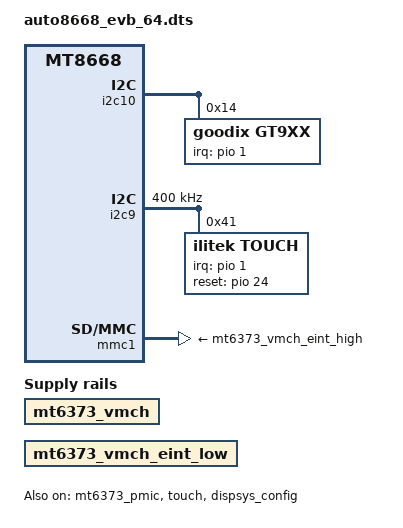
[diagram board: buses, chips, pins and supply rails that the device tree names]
// SPDX-License-Identifier: (GPL-2.0 OR MIT)
/*
 * Copyright (c) 2024 MediaTek Inc.
 */

/dts-v1/;
/plugin/;
#include <dt-bindings/interrupt-controller/arm-gic.h>
#include <dt-bindings/interrupt-controller/irq.h>
#include <dt-bindings/pinctrl/mt6881-pinfunc.h>
#include <dt-bindings/phy/phy.h>

/* chosen */
&chosen {
	bootargs_ext = "";
};

&extcon_usb{
	status = "disabled";
};

&ssusb {
	vusb33-supply = <&mt6373_vusb>;
	role-switch-default-mode = "peripheral";
};


&mt6363keys {
	pinctrl-names = "kpcol0_mode";
	pinctrl-0 = <&kpcol0_pins_gpio_mode>;
	home2 {
		linux,keycodes = <114>;
		wakeup-source;
	};
};

&pio {
	kpcol0_pins_gpio_mode: gpio-mode {
		pins-cmd-dat {
			pinmux = <PINMUX_GPIO16__FUNC_GPIO16>;
			input-enable;
		};
	};
};

&connfem {
/* Enable epa_elna node to support Wifi & BT ePA/eLNA FEM on customer load */
#if 0
	epa-elna {
		parts = <&wlan7207h &wlan7207c>;
		wifi {
			flags-0 {
				open-loop;
			};
		};
		bt {
			flags-0 {
				/* choose one of: epa-elna/epa/elna/bypass */
				epa-elna;
			};
		};
	};
#endif
};

&lk_charger {
	disable-charger;
};

&charger {
	disable-charger;
};

&mtk_gauge {
	disable-mtkbattery = <1>;
};

/* CONNSYS TCXO GPIO start */
&consys {
	tcxo-support = "true";
};

&spmi {
	interrupts-extended = <&pio 215 IRQ_TYPE_LEVEL_HIGH>,
			<&gic GIC_SPI 624 IRQ_TYPE_LEVEL_HIGH 0>,
			<&gic GIC_SPI 642 IRQ_TYPE_LEVEL_HIGH 0>;
	interrupt-names = "rcs_irq",
			"pmif_irq","spmi_nack_irq";
	spmi-dev-mask = <0x0>;
};

&mt6373_pmic {
	status = "okay";
};

&mt6373_vbuck2 {
	regulator-read-only;
};

&mt6373_vbuck4 {
	regulator-always-on;
};

&mt6373_vbuck5 {
	regulator-read-only;
};

&mt6373_vbuck6 {
	regulator-always-on;
};

&mt6373_vbuck7 {
	regulator-always-on;
};

&mt6373_vbuck9 {
	regulator-always-on;
};

&mt6373_vaud18 {
	regulator-always-on;
};

/* MD/RF always-on setting */
&mt6363_vbuck5 {
	regulator-always-on;
};

&mt6363_vbuck6 {
	regulator-always-on;
};

&mt6363_vcn15 {
	regulator-always-on;
};

&mt6363_vrf12 {
	regulator-always-on;
};

&mt6363_vsram_digrf {
	regulator-always-on;
};

&mt6363_vsram_modem {
	regulator-always-on;
};

&i2c10{
	gt9xx@14{
		compatible = "goodix,gt9xx";
		reg = <0x14>;
		status = "okay";
		touch-id = <2>;
		touch-identity = "gt9xx_DSI-1";

		interrupt-parent = <&pio>;
		interrupts = <1 0x2800>;
		irq-gpios = <&pio 1 0x2800>;
		irq-flags = <2>;

		touchscreen-max-id = <11>;
		touchscreen-size-x = <1920>;
		touchscreen-size-y = <1080>;
		touchscreen-max-w = <512>;
		touchscreen-max-p = <512>;
		touchscreen-key-map = <172>, <158>; /*KEY_HOMEPAGE=172, KEY_BACK=158,KEY_MENU=139*/

		goodix,slide-wakeup = <0>;
		goodix,type-a-report = <0>;
		goodix,driver-send-cfg = <1>;
		goodix,resume-in-workqueue = <0>;
		goodix,int-sync = <1>;
		goodix,swap-x2y = <0>;
		goodix,esd-protect = <1>;
		goodix,auto-update-cfg = <1>;
		goodix,power-off-sleep = <0>;
		goodix,cfg-group0 = [
			48 80 07 38 04 0A 0D 00 01 08 28 05 50 32 03 05 00 00
			00 00 00 00 00 00 00 00 00 95 35 FF 17 15 31 0D 00 00
			00 9A 03 2D 00 00 00 00 00 00 00 00 00 00 00 0F 23 94
			C5 02 07 00 00 04 A0 10 00 8B 13 00 7C 16 00 6B 1B 00
			60 20 00 60 00 00 00 00 00 00 00 00 00 00 00 00 00 00
			00 00 00 00 00 00 00 00 00 00 00 00 00 00 00 00 00 00
			00 00 00 00 00 01 02 03 04 05 06 07 08 09 0A 0B 0C 0D
			0E 0F 10 11 12 13 14 15 16 17 18 19 1A 1B 1C 1D 00 01
			02 03 04 05 06 07 08 09 0A 0B 0C 0D 0E 0F 10 11 12 13
			14 15 16 17 18 19 1B 1C 1D 1E 1F 20 21 22 23 24 25 26
			27 28 29 2A 23 01
		];
	};
};

&i2c9 {
	clock-frequency = <400000>;
	status = "okay";
	ilitek@41 {
		compatible = "ilitek,touch";
		reg = <0x41>;
		interrupt-parent = <&pio>;
		interrupts = <1 0x0>;
		ilitek,irq-gpio = <&pio 1 0x0>;
		ilitek,reset-gpio = <&pio 24 0x0>;
		ilitek,vbus = "vcc_i2c";
		ilitek,name = "ilitek_i2c";
	};
};

/* TOUCH start */
&touch {
	tpd-resolution = <800 1280>;
	use-tpd-button = <0>;
	tpd-key-num = <3>;
	tpd-key-local= <139 172 158 0>;
	tpd-key-dim-local = <90 883 100 40
		230 883 100 40 370 883 100 40 0 0 0 0>;
	tpd-max-touch-num = <5>;
	tpd-filter-enable = <1>;
	tpd-filter-pixel-density = <146>;
	tpd-filter-custom-prameters = <0 0 0 0 0 0 0 0 0 0 0 0>;
	tpd-filter-custom-speed = <0 0 0>;
	pinctrl-names = "default", "state_eint_as_int",
		"state_eint_output0", "state_eint_output1",
		"state_rst_output0", "state_rst_output1";
	pinctrl-0 = <&ctp_pins_default_int>;
	pinctrl-1 = <&ctp_pins_eint_as_int>;
	pinctrl-2 = <&ctp_pins_eint_output0>;
	pinctrl-3 = <&ctp_pins_eint_output1>;
	pinctrl-4 = <&ctp_pins_rst_output0>;
	pinctrl-5 = <&ctp_pins_rst_output1>;
	status = "okay";
	vtouch-supply = <&mt6373_vtp>;
	ilitek,vdd = "vtouch";
};

&pio{
	ctp_pins_default_int: eint0default {
		};

	ctp_pins_eint_as_int: eint@0 {
		pins-cmd-dat {
			pinmux = <PINMUX_GPIO1__FUNC_GPIO1>;
			slew-rate = <0>;
			bias-disable;
		};
	};

	ctp_pins_eint_output0: eintoutput0 {
		pins-cmd-dat {
			pinmux = <PINMUX_GPIO1__FUNC_GPIO1>;
			slew-rate = <1>;
			output-low;
		};
	};

	ctp_pins_eint_output1: eintoutput1 {
		pins-cmd-dat {
			pinmux = <PINMUX_GPIO1__FUNC_GPIO1>;
			slew-rate = <1>;
			output-high;
		};
	};

	ctp_pins_rst_output0: rstoutput0 {
		pins-cmd-dat {
			pinmux = <PINMUX_GPIO24__FUNC_GPIO24>;
			slew-rate = <1>;
			output-low;
		};
	};

	ctp_pins_rst_output1: rstoutput1 {
		pins-cmd-dat {
			pinmux = <PINMUX_GPIO24__FUNC_GPIO24>;
			slew-rate = <1>;
			output-high;
		};
	};
};
/* TOUCH end */
&spmi_pmif_mpu {
	disable = <1>;
};

&thermal_zones {
	pmic6373-bk0 {
		polling-delay = <0>; /* milliseconds */
		polling-delay-passive = <0>; /* milliseconds */
		thermal-sensors = <&mt6373_temp 0>;
		trips {
			pmic6373_bk0_crit: pmic6373-bk0-crit {
				temperature = <125000>;
				hysteresis = <2000>;
				type = "passive";
			};
		};
	};
	pmic6373-ldo {
		polling-delay = <0>; /* milliseconds */
		polling-delay-passive = <0>; /* milliseconds */
		thermal-sensors = <&mt6373_temp 1>;
		trips {
			pmic6373_ldo_crit: pmic6373-ldo-crit {
				temperature = <125000>;
				hysteresis = <2000>;
				type = "passive";
			};
		};
	};
	pmic6373-bk3-bk7 {
		polling-delay = <0>; /* milliseconds */
		polling-delay-passive = <0>; /* milliseconds */
		thermal-sensors = <&mt6373_temp 2>;
		trips {
			pmic6373_bk3_bk7_crit: pmic6373-bk3-bk7-crit {
				temperature = <125000>;
				hysteresis = <2000>;
				type = "passive";
			};
		};
	};
	pmic6373-bk4-bk8 {
		polling-delay = <0>; /* milliseconds */
		polling-delay-passive = <0>; /* milliseconds */
		thermal-sensors = <&mt6373_temp 3>;
		trips {
			pmic6373_bk4_bk8_crit: pmic6373-bk4-bk8-crit {
				temperature = <125000>;
				hysteresis = <2000>;
				type = "passive";
			};
		};
	};
};

&mt6368_temp {
	status = "disabled";
};

&pmic6368_buck1 {
	status = "disabled";
};

&pmic6368_vpa {
	status = "disabled";
};

&pmic6368_vcn33_1 {
	status = "disabled";
};

&pmic6368_vrf18_aif {
	status = "disabled";
};

&mt6373_vmch {
	regulator-min-microvolt = <0>;
};

&mt6373_vmch_eint_low {
	regulator-min-microvolt = <0>;
};

&pmic_oc_debug {
	status = "disabled";
};

&mt6363_dynamic_loading_throttling {
	status = "disabled";
};

&mt6319_6 {
	compatible = "no use";
	status = "disabled";
};

&mt6720 {
	compatible = "no use";
	status = "disabled";
};

&spmi {
	second_pmic@5 {
		compatible = "no use";
		status = "disabled";
	};
};

&afe {
	etdm-in-ch = <2 2 2 16 2>;
	etdm-out-ch = <2 2 2 16>;
	etdm-in-format = <0 0 0 4 0>;
	etdm-out-format = <0 0 0 4>;
	etdmin6-clk-always-on = <0xf 0xbb80 0x80 0x20 0x10>;/* ao_level, lrck, mclk_ratio, bck_width, channels */
};

&dispsys_config {
	helper-name = "MTK_DRM_OPT_STAGE",
		"MTK_DRM_OPT_USE_CMDQ",
		"MTK_DRM_OPT_USE_M4U",
		"MTK_DRM_OPT_MMQOS_SUPPORT",
		"MTK_DRM_OPT_MMDVFS_SUPPORT",
		"MTK_DRM_OPT_SODI_SUPPORT",
		"MTK_DRM_OPT_IDLE_MGR",
		"MTK_DRM_OPT_IDLEMGR_SWTCH_DECOUPLE",
		"MTK_DRM_OPT_IDLEMGR_BY_REPAINT",
		"MTK_DRM_OPT_IDLEMGR_ENTER_ULPS",
		"MTK_DRM_OPT_IDLEMGR_KEEP_LP11",
		"MTK_DRM_OPT_DYNAMIC_RDMA_GOLDEN_SETTING",
		"MTK_DRM_OPT_IDLEMGR_DISABLE_ROUTINE_IRQ",
		"MTK_DRM_OPT_IDLEMGR_ASYNC",
		"MTK_DRM_OPT_MET_LOG",
		"MTK_DRM_OPT_USE_PQ",
		"MTK_DRM_OPT_ESD_CHECK_RECOVERY",
		"MTK_DRM_OPT_ESD_CHECK_SWITCH",
		"MTK_DRM_OPT_PRESENT_FENCE",
		"MTK_DRM_OPT_RDMA_UNDERFLOW_AEE",
		"MTK_DRM_OPT_DSI_UNDERRUN_AEE",
		"MTK_DRM_OPT_ODDMR_OD_AEE",
		"MTK_DRM_OPT_ODDMR_DMR_AEE",
		"MTK_DRM_OPT_HRT",
		"MTK_DRM_OPT_HRT_MODE",
		"MTK_DRM_OPT_DELAYED_TRIGGER",
		"MTK_DRM_OPT_OVL_EXT_LAYER",
		"MTK_DRM_OPT_AOD",
		"MTK_DRM_OPT_RPO",
		"MTK_DRM_OPT_DUAL_PIPE",
		"MTK_DRM_OPT_DC_BY_HRT",
		"MTK_DRM_OPT_OVL_WCG",
		"MTK_DRM_OPT_OVL_SBCH",
		"MTK_DRM_OPT_COMMIT_NO_WAIT_VBLANK",
		"MTK_DRM_OPT_MET",
		"MTK_DRM_OPT_REG_PARSER_RAW_DUMP",
		"MTK_DRM_OPT_VP_PQ",
		"MTK_DRM_OPT_GAME_PQ",
		"MTK_DRM_OPT_MMPATH",
		"MTK_DRM_OPT_HBM",
		"MTK_DRM_OPT_VDS_PATH_SWITCH",
		"MTK_DRM_OPT_LAYER_REC",
		"MTK_DRM_OPT_CLEAR_LAYER",
		"MTK_DRM_OPT_LFR",
		"MTK_DRM_OPT_SF_PF",
		"MTK_DRM_OPT_DYN_MIPI_CHANGE",
		"MTK_DRM_OPT_PRIM_DUAL_PIPE",
		"MTK_DRM_OPT_MSYNC2_0",
		"MTK_DRM_OPT_MML_PRIMARY",
		"MTK_DRM_OPT_MML_SUPPORT_CMD_MODE",
		"MTK_DRM_OPT_MML_PQ",
		"MTK_DRM_OPT_MML_IR",
		"MTK_DRM_OPT_DUAL_TE",
		"MTK_DRM_OPT_RES_SWITCH",
		"MTK_DRM_OPT_PREFETCH_TE",
		"MTK_DRM_OPT_DPC_EN",
		"MTK_DRM_OPT_VIDLE_TOP_EN",
		"MTK_DRM_OPT_VIDLE_APSRC_OFF",
		"MTK_DRM_OPT_VIDLE_DSI_PLL_OFF",
		"MTK_DRM_OPT_VIDLE_VDO_PANEL",
		"MTK_DRM_OPT_VIDLE_HOME_SCREEN_IDLE",
		"MTK_DRM_OPT_VIDLE_FULL_SCENARIO",
		"MTK_DRM_OPT_DPC_PRE_TE_EN",
		"MTK_DRM_OPT_MMDVFS_MODE_SWITCH",
		"MTK_DRM_OPT_CHECK_TRIGGER_MERGE",
		"MTK_DRM_OPT_VIRTUAL_DISP",
		"MTK_DRM_OPT_OVL_BW_MONITOR",
		"MTK_DRM_OPT_GPU_CACHE",
		"MTK_DRM_OPT_SPHRT",
		"MTK_DRM_OPT_SDPA_OVL_SWITCH",
		"MTK_DRM_OPT_HRT_BY_LARB",
		"MTK_DRM_OPT_MAX_CHANNEL_HRT",
		"MTK_DRM_OPT_RES_SWITCH_ON_AP",
		"MTK_DRM_OPT_TILE_OVERHEAD";

	helper-value = <0>, /*MTK_DRM_OPT_STAGE*/
		<1>, /*MTK_DRM_OPT_USE_CMDQ*/
		<1>, /*MTK_DRM_OPT_USE_M4U*/
		<0>, /*MTK_DRM_OPT_MMQOS_SUPPORT*/
		<0>, /*MTK_DRM_OPT_MMDVFS_SUPPORT*/
		<0>, /*MTK_DRM_OPT_SODI_SUPPORT*/
		<1>, /*MTK_DRM_OPT_IDLE_MGR*/
		<0>, /*MTK_DRM_OPT_IDLEMGR_SWTCH_DECOUPLE*/
		<1>, /*MTK_DRM_OPT_IDLEMGR_BY_REPAINT*/
		<0>, /*MTK_DRM_OPT_IDLEMGR_ENTER_ULPS*/
		<0>, /*MTK_DRM_OPT_IDLEMGR_KEEP_LP11*/
		<0>, /*MTK_DRM_OPT_DYNAMIC_RDMA_GOLDEN_SETTING*/
		<1>, /*MTK_DRM_OPT_IDLEMGR_DISABLE_ROUTINE_IRQ*/
		<1>, /*MTK_DRM_OPT_IDLEMGR_ASYNC*/
		<0>, /*MTK_DRM_OPT_MET_LOG*/
		<0>, /*MTK_DRM_OPT_USE_PQ*/
		<1>, /*MTK_DRM_OPT_ESD_CHECK_RECOVERY*/
		<1>, /*MTK_DRM_OPT_ESD_CHECK_SWITCH*/
		<1>, /*MTK_DRM_OPT_PRESENT_FENCE*/
		<0>, /*MTK_DRM_OPT_RDMA_UNDERFLOW_AEE*/
		<0>, /*MTK_DRM_OPT_DSI_UNDERRUN_AEE*/
		<0>, /*MTK_DRM_OPT_ODDMR_OD_AEE*/
		<0>, /*MTK_DRM_OPT_ODDMR_DMR_AEE*/
		<1>, /*MTK_DRM_OPT_HRT*/
		<0>, /*MTK_DRM_OPT_HRT_MODE*/
		<0>, /*MTK_DRM_OPT_DELAYED_TRIGGER*/
		<1>, /*MTK_DRM_OPT_OVL_EXT_LAYER*/
		<0>, /*MTK_DRM_OPT_AOD*/
		<0>, /*MTK_DRM_OPT_RPO*/
		<0>, /*MTK_DRM_OPT_DUAL_PIPE*/
		<0>, /*MTK_DRM_OPT_DC_BY_HRT*/
		<0>, /*MTK_DRM_OPT_OVL_WCG*/
		<0>, /*MTK_DRM_OPT_OVL_SBCH*/
		<1>, /*MTK_DRM_OPT_COMMIT_NO_WAIT_VBLANK*/
		<0>, /*MTK_DRM_OPT_MET*/
		<0>, /*MTK_DRM_OPT_REG_PARSER_RAW_DUMP*/
		<0>, /*MTK_DRM_OPT_VP_PQ*/
		<0>, /*MTK_DRM_OPT_GAME_PQ*/
		<0>, /*MTK_DRM_OPT_MMPATH*/
		<0>, /*MTK_DRM_OPT_HBM*/
		<0>, /*MTK_DRM_OPT_VDS_PATH_SWITCH*/
		<0>, /*MTK_DRM_OPT_LAYER_REC*/
		<1>, /*MTK_DRM_OPT_CLEAR_LAYER*/
		<0>, /*MTK_DRM_OPT_LFR*/
		<0>, /*MTK_DRM_OPT_SF_PF*/
		<1>, /*MTK_DRM_OPT_DYN_MIPI_CHANGE*/
		<0>, /*MTK_DRM_OPT_PRIM_DUAL_PIPE*/
		<0>, /*MTK_DRM_OPT_MSYNC2_0*/
		<0>, /*MTK_DRM_OPT_MML_PRIMARY*/
		<0>, /*MTK_DRM_OPT_MML_SUPPORT_CMD_MODE*/
		<0>, /*MTK_DRM_OPT_MML_PQ*/
		<0>, /*MTK_DRM_OPT_MML_IR*/
		<0>, /*MTK_DRM_OPT_DUAL_TE*/
		<0>, /*MTK_DRM_OPT_RES_SWITCH*/
		<0>, /*MTK_DRM_OPT_PREFETCH_TE*/
		<1>, /*MTK_DRM_OPT_DPC_EN*/
		<0>, /*MTK_DRM_OPT_VIDLE_TOP_EN*/
		<0>, /*MTK_DRM_OPT_VIDLE_APSRC_OFF*/
		<0>, /*MTK_DRM_OPT_VIDLE_DSI_PLL_OFF*/
		<0>, /*MTK_DRM_OPT_VIDLE_VDO_PANEL*/
		<0>, /*MTK_DRM_OPT_VIDLE_HOME_SCREEN_IDLE*/
		<0>, /*MTK_DRM_OPT_VIDLE_FULL_SCENARIO*/
		<0>, /*MTK_DRM_OPT_DPC_PRE_TE_EN*/
		<0>, /*MTK_DRM_OPT_MMDVFS_MODE_SWITCH*/
		<0>, /*MTK_DRM_OPT_CHECK_TRIGGER_MERGE*/
		<0>, /*MTK_DRM_OPT_VIRTUAL_DISP*/
		<1>, /*MTK_DRM_OPT_OVL_BW_MONITOR*/
		<0>, /*MTK_DRM_OPT_GPU_CACHE*/
		<1>, /*MTK_DRM_OPT_SPHRT*/
		<1>, /*MTK_DRM_OPT_SDPA_OVL_SWITCH*/
		<0>, /*MTK_DRM_OPT_HRT_BY_LARB*/
		<0>, /*MTK_DRM_OPT_MAX_CHANNEL_HRT*/
		<1>, /*MTK_DRM_OPT_RES_SWITCH_ON_AP*/
		<0>; /*MTK_DRM_OPT_TILE_OVERHEAD*/

	status = "okay";
};

&mmc1 {
	compatible = "mediatek,mt8668-mmc";
	vmmc-supply = <&mt6373_vmch_eint_high>;
	vqmmc-supply = <&mt6373_vmc>;
};

#include <auto8668p1_64/cust.dtsi>
#include "mediatek/cust_mt8668_display_interface_EVB.dtsi"
#include "mediatek/cust_mt8668_display_serdes_config.dtsi"
#include "mediatek/cust_mt8668_display_config_main.dtsi"
#include "mediatek/cust_k6881_connfem.dtsi"
/*End of this file, DO NOT ADD ANYTHING HERE*/
